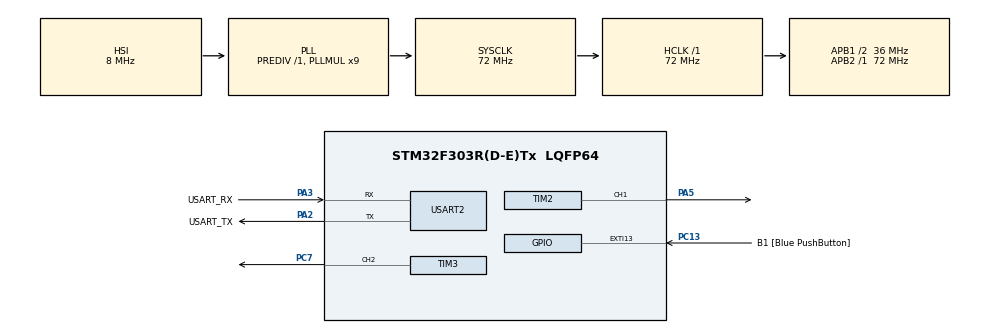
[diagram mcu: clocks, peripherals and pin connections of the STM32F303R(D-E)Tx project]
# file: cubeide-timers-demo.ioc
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Mcu.Family=STM32F3
Mcu.Name=STM32F303R(D-E)Tx
Mcu.Package=LQFP64
NVIC.PriorityGroup=NVIC_PRIORITYGROUP_0
NVIC.TIM1_UP_TIM16_IRQn=true\:0\:0\:false\:false\:true\:true\:true
PA13.GPIO_Label=TMS
PA13.Mode=Serial_Wire
PA13.Signal=SYS_JTMS-SWDIO
PA14.GPIO_Label=TCK
PA14.Mode=Serial_Wire
PA14.Signal=SYS_JTCK-SWCLK
PA2.GPIO_Label=USART_TX
PA2.GPIO_Mode=GPIO_MODE_AF_PP
PA2.GPIO_PuPd=GPIO_NOPULL
PA2.GPIO_Speed=GPIO_SPEED_FREQ_LOW
PA2.Mode=Asynchronous
PA2.Signal=USART2_TX
PA3.GPIO_Label=USART_RX
PA3.GPIO_Mode=GPIO_MODE_AF_PP
PA3.GPIO_PuPd=GPIO_NOPULL
PA3.GPIO_Speed=GPIO_SPEED_FREQ_LOW
PA3.Mode=Asynchronous
PA3.Signal=USART2_RX
PA5.Signal=S_TIM2_CH1_ETR
PB3.GPIO_Label=SWO
PB3.Signal=SYS_JTDO-TRACESWO
PC13.GPIO_Label=B1 [Blue PushButton]
PC13.GPIO_ModeDefaultEXTI=GPIO_MODE_IT_FALLING
PC13.Signal=GPXTI13
PC14-OSC32_IN.Mode=LSE-External-Oscillator
PC14-OSC32_IN.Signal=RCC_OSC32_IN
PC15-OSC32_OUT.Mode=LSE-External-Oscillator
PC15-OSC32_OUT.Signal=RCC_OSC32_OUT
PC7.Signal=S_TIM3_CH2
PF0-OSC_IN.Mode=HSE-External-Clock-Source
PF0-OSC_IN.Signal=RCC_OSC_IN
PF1-OSC_OUT.Signal=RCC_OSC_OUT
ProjectManager.HeapSize=0x200
ProjectManager.StackSize=0x400
ProjectManager.TargetToolchain=STM32CubeIDE
RCC.AHBFreq_Value=72000000
RCC.APB1CLKDivider=RCC_HCLK_DIV2
RCC.APB1Freq_Value=36000000
RCC.APB1TimFreq_Value=72000000
RCC.APB2Freq_Value=72000000
RCC.APB2TimFreq_Value=72000000
RCC.CortexFreq_Value=72000000
RCC.HCLKFreq_Value=72000000
RCC.HSE_VALUE=8000000
RCC.HSI_VALUE=8000000
RCC.PLLM=8
RCC.PLLMUL=RCC_PLL_MUL9
RCC.PLLN=336
RCC.PLLP=RCC_PLLP_DIV4
RCC.PLLQ=7
RCC.RCC_PLLsource_Clock_Source_FROM_HSE=RCC_HSE_PREDIV_DIV2
RCC.SYSCLKFreq_VALUE=72000000
RCC.SYSCLKSourceVirtual=RCC_SYSCLKSOURCE_PLLCLK
RCC.USBFreq_Value=72000000
SH.S_TIM2_CH1_ETR.0=TIM2_CH1,PWM Generation1 CH1
SH.S_TIM3_CH2.0=TIM3_CH2,PWM Generation2 CH2
TIM2.Channel-PWM\ Generation1\ CH1=TIM_CHANNEL_1
TIM2.Period=999
TIM2.Prescaler=71
TIM2.Pulse-PWM\ Generation1\ CH1=499
TIM3.Channel-PWM\ Generation2\ CH2=TIM_CHANNEL_2
TIM3.Period=3
TIM3.Prescaler=17
TIM3.Pulse-PWM\ Generation2\ CH2=2
TIM4.Prescaler=71
USART2.VirtualMode-Asynchronous=VM_ASYNC
VP_TIM1_VS_ClockSourceINT.Mode=Internal
VP_TIM2_VS_ClockSourceINT.Mode=Internal
VP_TIM3_VS_ClockSourceINT.Mode=Internal
VP_TIM4_VS_ClockSourceINT.Mode=Internal
board=NUCLEO-F303RE

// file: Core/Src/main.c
/* USER CODE BEGIN Header */
/**
  ******************************************************************************
  * @file           : main.c
  * @brief          : Main program body
  ******************************************************************************
  * @attention
  *
  * <h2><center>&copy; Copyright (c) 2020 STMicroelectronics.
  * All rights reserved.</center></h2>
  *
  * This software component is licensed by ST under BSD 3-Clause license,
  * the "License"; You may not use this file except in compliance with the
  * License. You may obtain a copy of the License at:
  *                        opensource.org/licenses/BSD-3-Clause
  *
  ******************************************************************************
  */
/* USER CODE END Header */
#include "main.h"

/* USER CODE BEGIN Includes */
#include <stdbool.h>
#include <stdio.h>
#include <stdarg.h> //needed for the custom printf declaration to support varying numbers of arguments
/* USER CODE END Includes */

TIM_HandleTypeDef htim1;
TIM_HandleTypeDef htim2;
TIM_HandleTypeDef htim3;
TIM_HandleTypeDef htim4;

UART_HandleTypeDef huart2;

void SystemClock_Config(void);
static void MX_GPIO_Init(void);
static void MX_USART2_UART_Init(void);
static void MX_TIM2_Init(void);
static void MX_TIM1_Init(void);
static void MX_TIM3_Init(void);
static void MX_TIM4_Init(void);

/* USER CODE BEGIN 0 */
void delay_us (uint16_t us) //warning: this function is not reentrant
{
	__HAL_TIM_SET_COUNTER(&htim4,0); //reset the timer counter
	while (__HAL_TIM_GET_COUNTER(&htim4) < us);  // wait for the counter to reach the us value provided as an argument
}

void HAL_TIM_PeriodElapsedCallback(TIM_HandleTypeDef *htim) {
	//change the duty cycle of TIM2 whenever the TIM1 interrupt occurs.
	static uint8_t dir = 0; //direction: are we currently increasing duty cycle or currently decreasing?
	uint32_t i = __HAL_TIM_GET_COMPARE(&htim2, TIM_CHANNEL_1); //the period counts to 999. Duty cycle should vary between 0 and 999.

	if(dir == 0) { //change duty cycle by changing "i" by 1 in the positive or negative direction
		i--;
		if(i == 0) {
			dir = 1;
		}
	} else {
		i++;
		if(i == 999) {
			dir = 0;
		}

	}
	//update the PWM control register
	__HAL_TIM_SET_COMPARE(&htim2, TIM_CHANNEL_1, i);
}

#define FREQ_TO_DELAY_US(x) (500000 / x)
typedef enum {
	note_a 		= 0,
	note_a_sh 	= 1,
	note_b 		= 2,
	note_c 		= 3,
	note_c_sh 	= 4,
	note_d 		= 5,
	note_d_sh 	= 6,
	note_e 		= 7,
	note_f 		= 8,
	note_f_sh 	= 9,
	note_g		= 10,
	note_g_sh	= 11
} note_enum;

#define SCALE_LEN 12
uint16_t note_delays_us[] = {
		FREQ_TO_DELAY_US(220),
		FREQ_TO_DELAY_US(233),
		FREQ_TO_DELAY_US(247),
		FREQ_TO_DELAY_US(262),
		FREQ_TO_DELAY_US(277),
		FREQ_TO_DELAY_US(294),
		FREQ_TO_DELAY_US(311),
		FREQ_TO_DELAY_US(330),
		FREQ_TO_DELAY_US(349),
		FREQ_TO_DELAY_US(370),
		FREQ_TO_DELAY_US(392),
		FREQ_TO_DELAY_US(415),
		FREQ_TO_DELAY_US(440),
		FREQ_TO_DELAY_US(466),
		FREQ_TO_DELAY_US(494),
		FREQ_TO_DELAY_US(523),
		FREQ_TO_DELAY_US(554),
		FREQ_TO_DELAY_US(587),
		FREQ_TO_DELAY_US(622),
		FREQ_TO_DELAY_US(659),
		FREQ_TO_DELAY_US(698),
		FREQ_TO_DELAY_US(740),
		FREQ_TO_DELAY_US(784),
		FREQ_TO_DELAY_US(831)
};

#define NOTE_LEN_Q 652
#define NOTE_LEN_E (NOTE_LEN_Q/2)
#define NOTE_LEN_S (NOTE_LEN_Q/4)
#define NOTE_LEN_T (NOTE_LEN_Q/8)
#define NOTE_LEN_H (NOTE_LEN_Q*2)
#define NOTE_LEN_F (NOTE_LEN_Q*4)

typedef struct {
	note_enum note;
	uint8_t scale_pos; //either 0 or 1
	uint16_t duration_ms;
	uint16_t duration_rest; //if rest then don't play
} playNote;

playNote furEliseSong[] = {
		{note_e, 1, NOTE_LEN_E, 0},
		{note_d_sh, 1, NOTE_LEN_E, 0},
		{note_e, 1, NOTE_LEN_E, 0},
		{note_d_sh, 1, NOTE_LEN_E, 0},
		{note_e, 1, NOTE_LEN_E, 0},
		{note_b, 1, NOTE_LEN_E, 0},
		{note_d, 1, NOTE_LEN_E, 0},
		{note_c, 1, NOTE_LEN_E, 0},
		{note_a, 1, NOTE_LEN_Q, NOTE_LEN_E},

		{note_c, 0, NOTE_LEN_E, 0},
		{note_e, 0, NOTE_LEN_E, 0},
		{note_a, 1, NOTE_LEN_E, 0},
		{note_b, 1, NOTE_LEN_Q, NOTE_LEN_E},

		{note_e, 0, NOTE_LEN_E, 0},
		{note_g_sh, 0, NOTE_LEN_E, 0},
		{note_b, 1, NOTE_LEN_E, 0},
		{note_c, 1, NOTE_LEN_Q, NOTE_LEN_E},

		{note_e, 0, NOTE_LEN_E, 0},
		{note_e, 1, NOTE_LEN_E, 0},
		{note_d_sh, 1, NOTE_LEN_E, 0},
		{note_e, 1, NOTE_LEN_E, 0},
		{note_d_sh, 1, NOTE_LEN_E, 0},
		{note_e, 1, NOTE_LEN_E, 0},
		{note_b, 1, NOTE_LEN_E, 0},
		{note_d, 1, NOTE_LEN_E, 0},
		{note_c, 1, NOTE_LEN_E, 0},
		{note_a, 1, NOTE_LEN_Q, NOTE_LEN_E},

		{note_c, 0, NOTE_LEN_E, 0},
		{note_e, 0, NOTE_LEN_E, 0},
		{note_a, 1, NOTE_LEN_E, 0},
		{note_b, 1, NOTE_LEN_Q, NOTE_LEN_E},

		{note_e, 0, NOTE_LEN_E, 0},
		{note_c, 1, NOTE_LEN_E, 0},
		{note_b, 1, NOTE_LEN_E, 0},
		{note_a, 1, NOTE_LEN_Q, NOTE_LEN_Q}
};

void tx_tone(uint32_t dTime, uint32_t playTime) {
	uint32_t end = HAL_GetTick() + playTime;

  while (end > HAL_GetTick()) {
	  delay_us(dTime);
	  HAL_TIM_PWM_Start(&htim3, TIM_CHANNEL_2);
	  delay_us(dTime);
	  HAL_TIM_PWM_Stop(&htim3, TIM_CHANNEL_2);
  }
}

void tx_note(playNote *n) {
	tx_tone(note_delays_us[n->note + SCALE_LEN * n->scale_pos], n->duration_ms-50);
	tx_tone(1, 50);
	if(n->duration_rest > 0) {
		tx_tone(1, n->duration_rest);
	}
}

/* USER CODE END 0 */

int main(void)
{

  /* MCU Configuration--------------------------------------------------------*/

  /* Reset of all peripherals, Initializes the Flash interface and the Systick. */
  HAL_Init();

  /* Configure the system clock */
  SystemClock_Config();

  /* Initialize all configured peripherals */
  MX_GPIO_Init();
  MX_USART2_UART_Init();
  MX_TIM2_Init();
  MX_TIM1_Init();
  MX_TIM3_Init();
  MX_TIM4_Init();
  /* USER CODE BEGIN 2 */
  HAL_TIM_Base_Start_IT(&htim1);
  HAL_TIM_PWM_Start(&htim2,TIM_CHANNEL_1); //enable PWM output on LED pin
  HAL_TIM_Base_Start(&htim4);

  /* USER CODE END 2 */

  /* Infinite loop */
  while (1)
  {

    /* USER CODE BEGIN 3 */
	  for(int i = 0; i < 35; i++) {
		  tx_note(&furEliseSong[i]);

		  //delay_us(500000/440); //desired frequency is 440Hz, toggle at 220Hz. Delay is thus (1/f*1000000)/2 to get to us, or 500000/f.
		  //HAL_TIM_PWM_Start(&htim3,TIM_CHANNEL_2);
		  //delay_us(500000/440);
		  //HAL_TIM_PWM_Stop(&htim3,TIM_CHANNEL_2);
	  }
  }
  /* USER CODE END 3 */
}

void SystemClock_Config(void)
{
  RCC_OscInitTypeDef RCC_OscInitStruct = {0};
  RCC_ClkInitTypeDef RCC_ClkInitStruct = {0};
  RCC_PeriphCLKInitTypeDef PeriphClkInit = {0};

  /** Initializes the RCC Oscillators according to the specified parameters
  * in the RCC_OscInitTypeDef structure.
  */
  RCC_OscInitStruct.OscillatorType = RCC_OSCILLATORTYPE_HSI;
  RCC_OscInitStruct.HSIState = RCC_HSI_ON;
  RCC_OscInitStruct.HSICalibrationValue = RCC_HSICALIBRATION_DEFAULT;
  RCC_OscInitStruct.PLL.PLLState = RCC_PLL_ON;
  RCC_OscInitStruct.PLL.PLLSource = RCC_PLLSOURCE_HSI;
  RCC_OscInitStruct.PLL.PLLMUL = RCC_PLL_MUL9;
  RCC_OscInitStruct.PLL.PREDIV = RCC_PREDIV_DIV1;
  if (HAL_RCC_OscConfig(&RCC_OscInitStruct) != HAL_OK)
  {
    Error_Handler();
  }
  /** Initializes the CPU, AHB and APB buses clocks
  */
  RCC_ClkInitStruct.ClockType = RCC_CLOCKTYPE_HCLK|RCC_CLOCKTYPE_SYSCLK
                              |RCC_CLOCKTYPE_PCLK1|RCC_CLOCKTYPE_PCLK2;
  RCC_ClkInitStruct.SYSCLKSource = RCC_SYSCLKSOURCE_PLLCLK;
  RCC_ClkInitStruct.AHBCLKDivider = RCC_SYSCLK_DIV1;
  RCC_ClkInitStruct.APB1CLKDivider = RCC_HCLK_DIV2;
  RCC_ClkInitStruct.APB2CLKDivider = RCC_HCLK_DIV1;

  if (HAL_RCC_ClockConfig(&RCC_ClkInitStruct, FLASH_LATENCY_2) != HAL_OK)
  {
    Error_Handler();
  }
  PeriphClkInit.PeriphClockSelection = RCC_PERIPHCLK_USART2|RCC_PERIPHCLK_TIM1
                              |RCC_PERIPHCLK_TIM2|RCC_PERIPHCLK_TIM34;
  PeriphClkInit.Usart2ClockSelection = RCC_USART2CLKSOURCE_PCLK1;
  PeriphClkInit.Tim1ClockSelection = RCC_TIM1CLK_HCLK;
  PeriphClkInit.Tim2ClockSelection = RCC_TIM2CLK_HCLK;
  PeriphClkInit.Tim34ClockSelection = RCC_TIM34CLK_HCLK;
  if (HAL_RCCEx_PeriphCLKConfig(&PeriphClkInit) != HAL_OK)
  {
    Error_Handler();
  }
}

static void MX_TIM1_Init(void)
{

  TIM_ClockConfigTypeDef sClockSourceConfig = {0};
  TIM_MasterConfigTypeDef sMasterConfig = {0};

  htim1.Instance = TIM1;
  htim1.Init.Prescaler = 0;
  htim1.Init.CounterMode = TIM_COUNTERMODE_UP;
  htim1.Init.Period = 65535;
  htim1.Init.ClockDivision = TIM_CLOCKDIVISION_DIV1;
  htim1.Init.RepetitionCounter = 0;
  htim1.Init.AutoReloadPreload = TIM_AUTORELOAD_PRELOAD_DISABLE;
  if (HAL_TIM_Base_Init(&htim1) != HAL_OK)
  {
    Error_Handler();
  }
  sClockSourceConfig.ClockSource = TIM_CLOCKSOURCE_INTERNAL;
  if (HAL_TIM_ConfigClockSource(&htim1, &sClockSourceConfig) != HAL_OK)
  {
    Error_Handler();
  }
  sMasterConfig.MasterOutputTrigger = TIM_TRGO_RESET;
  sMasterConfig.MasterOutputTrigger2 = TIM_TRGO2_RESET;
  sMasterConfig.MasterSlaveMode = TIM_MASTERSLAVEMODE_DISABLE;
  if (HAL_TIMEx_MasterConfigSynchronization(&htim1, &sMasterConfig) != HAL_OK)
  {
    Error_Handler();
  }

}

static void MX_TIM2_Init(void)
{

  TIM_ClockConfigTypeDef sClockSourceConfig = {0};
  TIM_MasterConfigTypeDef sMasterConfig = {0};
  TIM_OC_InitTypeDef sConfigOC = {0};

  htim2.Instance = TIM2;
  htim2.Init.Prescaler = 71;
  htim2.Init.CounterMode = TIM_COUNTERMODE_UP;
  htim2.Init.Period = 999;
  htim2.Init.ClockDivision = TIM_CLOCKDIVISION_DIV1;
  htim2.Init.AutoReloadPreload = TIM_AUTORELOAD_PRELOAD_DISABLE;
  if (HAL_TIM_Base_Init(&htim2) != HAL_OK)
  {
    Error_Handler();
  }
  sClockSourceConfig.ClockSource = TIM_CLOCKSOURCE_INTERNAL;
  if (HAL_TIM_ConfigClockSource(&htim2, &sClockSourceConfig) != HAL_OK)
  {
    Error_Handler();
  }
  if (HAL_TIM_PWM_Init(&htim2) != HAL_OK)
  {
    Error_Handler();
  }
  sMasterConfig.MasterOutputTrigger = TIM_TRGO_RESET;
  sMasterConfig.MasterSlaveMode = TIM_MASTERSLAVEMODE_DISABLE;
  if (HAL_TIMEx_MasterConfigSynchronization(&htim2, &sMasterConfig) != HAL_OK)
  {
    Error_Handler();
  }
  sConfigOC.OCMode = TIM_OCMODE_PWM1;
  sConfigOC.Pulse = 499;
  sConfigOC.OCPolarity = TIM_OCPOLARITY_HIGH;
  sConfigOC.OCFastMode = TIM_OCFAST_DISABLE;
  if (HAL_TIM_PWM_ConfigChannel(&htim2, &sConfigOC, TIM_CHANNEL_1) != HAL_OK)
  {
    Error_Handler();
  }
  HAL_TIM_MspPostInit(&htim2);

}

static void MX_TIM3_Init(void)
{

  TIM_ClockConfigTypeDef sClockSourceConfig = {0};
  TIM_MasterConfigTypeDef sMasterConfig = {0};
  TIM_OC_InitTypeDef sConfigOC = {0};

  htim3.Instance = TIM3;
  htim3.Init.Prescaler = 17;
  htim3.Init.CounterMode = TIM_COUNTERMODE_UP;
  htim3.Init.Period = 3;
  htim3.Init.ClockDivision = TIM_CLOCKDIVISION_DIV1;
  htim3.Init.AutoReloadPreload = TIM_AUTORELOAD_PRELOAD_DISABLE;
  if (HAL_TIM_Base_Init(&htim3) != HAL_OK)
  {
    Error_Handler();
  }
  sClockSourceConfig.ClockSource = TIM_CLOCKSOURCE_INTERNAL;
  if (HAL_TIM_ConfigClockSource(&htim3, &sClockSourceConfig) != HAL_OK)
  {
    Error_Handler();
  }
  if (HAL_TIM_PWM_Init(&htim3) != HAL_OK)
  {
    Error_Handler();
  }
  sMasterConfig.MasterOutputTrigger = TIM_TRGO_RESET;
  sMasterConfig.MasterSlaveMode = TIM_MASTERSLAVEMODE_DISABLE;
  if (HAL_TIMEx_MasterConfigSynchronization(&htim3, &sMasterConfig) != HAL_OK)
  {
    Error_Handler();
  }
  sConfigOC.OCMode = TIM_OCMODE_PWM1;
  sConfigOC.Pulse = 2;
  sConfigOC.OCPolarity = TIM_OCPOLARITY_HIGH;
  sConfigOC.OCFastMode = TIM_OCFAST_DISABLE;
  if (HAL_TIM_PWM_ConfigChannel(&htim3, &sConfigOC, TIM_CHANNEL_2) != HAL_OK)
  {
    Error_Handler();
  }
  HAL_TIM_MspPostInit(&htim3);

}

static void MX_TIM4_Init(void)
{

  TIM_ClockConfigTypeDef sClockSourceConfig = {0};
  TIM_MasterConfigTypeDef sMasterConfig = {0};

  htim4.Instance = TIM4;
  htim4.Init.Prescaler = 71;
  htim4.Init.CounterMode = TIM_COUNTERMODE_UP;
  htim4.Init.Period = 65535;
  htim4.Init.ClockDivision = TIM_CLOCKDIVISION_DIV1;
  htim4.Init.AutoReloadPreload = TIM_AUTORELOAD_PRELOAD_DISABLE;
  if (HAL_TIM_Base_Init(&htim4) != HAL_OK)
  {
    Error_Handler();
  }
  sClockSourceConfig.ClockSource = TIM_CLOCKSOURCE_INTERNAL;
  if (HAL_TIM_ConfigClockSource(&htim4, &sClockSourceConfig) != HAL_OK)
  {
    Error_Handler();
  }
  sMasterConfig.MasterOutputTrigger = TIM_TRGO_RESET;
  sMasterConfig.MasterSlaveMode = TIM_MASTERSLAVEMODE_DISABLE;
  if (HAL_TIMEx_MasterConfigSynchronization(&htim4, &sMasterConfig) != HAL_OK)
  {
    Error_Handler();
  }

}

static void MX_USART2_UART_Init(void)
{

  huart2.Instance = USART2;
  huart2.Init.BaudRate = 38400;
  huart2.Init.WordLength = UART_WORDLENGTH_8B;
  huart2.Init.StopBits = UART_STOPBITS_1;
  huart2.Init.Parity = UART_PARITY_NONE;
  huart2.Init.Mode = UART_MODE_TX_RX;
  huart2.Init.HwFlowCtl = UART_HWCONTROL_NONE;
  huart2.Init.OverSampling = UART_OVERSAMPLING_16;
  huart2.Init.OneBitSampling = UART_ONE_BIT_SAMPLE_DISABLE;
  huart2.AdvancedInit.AdvFeatureInit = UART_ADVFEATURE_NO_INIT;
  if (HAL_UART_Init(&huart2) != HAL_OK)
  {
    Error_Handler();
  }

}

static void MX_GPIO_Init(void)
{
  GPIO_InitTypeDef GPIO_InitStruct = {0};

  /* GPIO Ports Clock Enable */
  __HAL_RCC_GPIOC_CLK_ENABLE();
  __HAL_RCC_GPIOF_CLK_ENABLE();
  __HAL_RCC_GPIOA_CLK_ENABLE();
  __HAL_RCC_GPIOB_CLK_ENABLE();

  /*Configure GPIO pin : B1_Pin */
  GPIO_InitStruct.Pin = B1_Pin;
  GPIO_InitStruct.Mode = GPIO_MODE_IT_FALLING;
  GPIO_InitStruct.Pull = GPIO_NOPULL;
  HAL_GPIO_Init(B1_GPIO_Port, &GPIO_InitStruct);

}

void Error_Handler(void)
{
}

/************************ (C) COPYRIGHT STMicroelectronics *****END OF FILE****/
